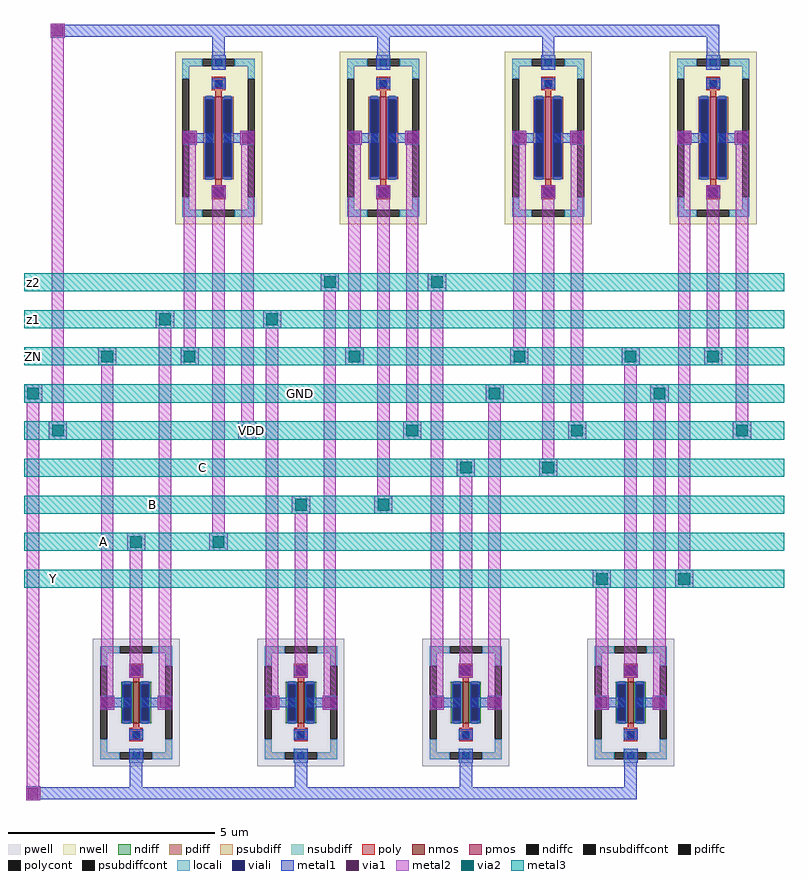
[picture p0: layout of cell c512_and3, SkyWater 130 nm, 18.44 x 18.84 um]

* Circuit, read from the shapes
.subckt c512_and3 Y A B C VDD GND
XM1 z1 A ZN GND sky130_fd_pr__nfet_01v8 w=1 l=0.15
XM2 z2 B z1 GND sky130_fd_pr__nfet_01v8 w=1 l=0.15
XM3 GND C z2 GND sky130_fd_pr__nfet_01v8 w=1 l=0.15
XM4 GND ZN Y GND sky130_fd_pr__nfet_01v8 w=1 l=0.15
XM5 VDD A ZN VDD sky130_fd_pr__pfet_01v8 w=2 l=0.15
XM6 VDD B ZN VDD sky130_fd_pr__pfet_01v8 w=2 l=0.15
XM7 VDD C ZN VDD sky130_fd_pr__pfet_01v8 w=2 l=0.15
XM8 VDD ZN Y VDD sky130_fd_pr__pfet_01v8 w=2 l=0.15
.ends

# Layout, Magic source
magic
tech sky130A
magscale 1 2
<< nwell >>
rect 789 2321 1211 3159
rect 1589 2321 2011 3159
rect 2389 2321 2811 3159
rect 3189 2321 3611 3159
<< pmos >>
rect 985 2540 1015 2940
rect 1785 2540 1815 2940
rect 2585 2540 2615 2940
rect 3385 2540 3415 2940
<< pdiff >>
rect 927 2928 985 2940
rect 927 2552 939 2928
rect 973 2552 985 2928
rect 927 2540 985 2552
rect 1015 2928 1073 2940
rect 1015 2552 1027 2928
rect 1061 2552 1073 2928
rect 1015 2540 1073 2552
rect 1727 2928 1785 2940
rect 1727 2552 1739 2928
rect 1773 2552 1785 2928
rect 1727 2540 1785 2552
rect 1815 2928 1873 2940
rect 1815 2552 1827 2928
rect 1861 2552 1873 2928
rect 1815 2540 1873 2552
rect 2527 2928 2585 2940
rect 2527 2552 2539 2928
rect 2573 2552 2585 2928
rect 2527 2540 2585 2552
rect 2615 2928 2673 2940
rect 2615 2552 2627 2928
rect 2661 2552 2673 2928
rect 2615 2540 2673 2552
rect 3327 2928 3385 2940
rect 3327 2552 3339 2928
rect 3373 2552 3385 2928
rect 3327 2540 3385 2552
rect 3415 2928 3473 2940
rect 3415 2552 3427 2928
rect 3461 2552 3473 2928
rect 3415 2540 3473 2552
<< pdiffc >>
rect 939 2552 973 2928
rect 1027 2552 1061 2928
rect 1739 2552 1773 2928
rect 1827 2552 1861 2928
rect 2539 2552 2573 2928
rect 2627 2552 2661 2928
rect 3339 2552 3373 2928
rect 3427 2552 3461 2928
<< nsubdiff >>
rect 825 3089 921 3123
rect 1079 3089 1175 3123
rect 825 3027 859 3089
rect 1141 3027 1175 3089
rect 825 2391 859 2453
rect 1141 2391 1175 2453
rect 825 2357 921 2391
rect 1079 2357 1175 2391
rect 1625 3089 1721 3123
rect 1879 3089 1975 3123
rect 1625 3027 1659 3089
rect 1941 3027 1975 3089
rect 1625 2391 1659 2453
rect 1941 2391 1975 2453
rect 1625 2357 1721 2391
rect 1879 2357 1975 2391
rect 2425 3089 2521 3123
rect 2679 3089 2775 3123
rect 2425 3027 2459 3089
rect 2741 3027 2775 3089
rect 2425 2391 2459 2453
rect 2741 2391 2775 2453
rect 2425 2357 2521 2391
rect 2679 2357 2775 2391
rect 3225 3089 3321 3123
rect 3479 3089 3575 3123
rect 3225 3027 3259 3089
rect 3541 3027 3575 3089
rect 3225 2391 3259 2453
rect 3541 2391 3575 2453
rect 3225 2357 3321 2391
rect 3479 2357 3575 2391
<< nsubdiffcont >>
rect 921 3089 1079 3123
rect 825 2453 859 3027
rect 1141 2453 1175 3027
rect 921 2357 1079 2391
rect 1721 3089 1879 3123
rect 1625 2453 1659 3027
rect 1941 2453 1975 3027
rect 1721 2357 1879 2391
rect 2521 3089 2679 3123
rect 2425 2453 2459 3027
rect 2741 2453 2775 3027
rect 2521 2357 2679 2391
rect 3321 3089 3479 3123
rect 3225 2453 3259 3027
rect 3541 2453 3575 3027
rect 3321 2357 3479 2391
<< poly >>
rect 967 3021 1033 3037
rect 967 2987 983 3021
rect 1017 2987 1033 3021
rect 967 2971 1033 2987
rect 985 2940 1015 2971
rect 985 2509 1015 2540
rect 967 2493 1033 2509
rect 967 2459 983 2493
rect 1017 2459 1033 2493
rect 967 2443 1033 2459
rect 1767 3021 1833 3037
rect 1767 2987 1783 3021
rect 1817 2987 1833 3021
rect 1767 2971 1833 2987
rect 1785 2940 1815 2971
rect 1785 2509 1815 2540
rect 1767 2493 1833 2509
rect 1767 2459 1783 2493
rect 1817 2459 1833 2493
rect 1767 2443 1833 2459
rect 2567 3021 2633 3037
rect 2567 2987 2583 3021
rect 2617 2987 2633 3021
rect 2567 2971 2633 2987
rect 2585 2940 2615 2971
rect 2585 2509 2615 2540
rect 2567 2493 2633 2509
rect 2567 2459 2583 2493
rect 2617 2459 2633 2493
rect 2567 2443 2633 2459
rect 567 172 633 188
rect 567 138 583 172
rect 617 138 633 172
rect 567 122 633 138
rect 585 100 615 122
rect 585 -122 615 -100
rect 567 -138 633 -122
rect 567 -172 583 -138
rect 617 -172 633 -138
rect 567 -188 633 -172
rect 1367 172 1433 188
rect 1367 138 1383 172
rect 1417 138 1433 172
rect 1367 122 1433 138
rect 1385 100 1415 122
rect 1385 -122 1415 -100
rect 1367 -138 1433 -122
rect 1367 -172 1383 -138
rect 1417 -172 1433 -138
rect 1367 -188 1433 -172
rect 2167 172 2233 188
rect 2167 138 2183 172
rect 2217 138 2233 172
rect 2167 122 2233 138
rect 2185 100 2215 122
rect 2185 -122 2215 -100
rect 2167 -138 2233 -122
rect 2167 -172 2183 -138
rect 2217 -172 2233 -138
rect 2167 -188 2233 -172
rect 2967 172 3033 188
rect 2967 138 2983 172
rect 3017 138 3033 172
rect 2967 122 3033 138
rect 2985 100 3015 122
rect 2985 -122 3015 -100
rect 2967 -138 3033 -122
rect 2967 -172 2983 -138
rect 3017 -172 3033 -138
rect 2967 -188 3033 -172
rect 3367 3021 3433 3037
rect 3367 2987 3383 3021
rect 3417 2987 3433 3021
rect 3367 2971 3433 2987
rect 3385 2940 3415 2971
rect 3385 2509 3415 2540
rect 3367 2493 3433 2509
rect 3367 2459 3383 2493
rect 3417 2459 3433 2493
rect 3367 2443 3433 2459
<< polycont >>
rect 983 2987 1017 3021
rect 983 2459 1017 2493
rect 1783 2987 1817 3021
rect 1783 2459 1817 2493
rect 2583 2987 2617 3021
rect 2583 2459 2617 2493
rect 583 138 617 172
rect 583 -172 617 -138
rect 1383 138 1417 172
rect 1383 -172 1417 -138
rect 2183 138 2217 172
rect 2183 -172 2217 -138
rect 2983 138 3017 172
rect 2983 -172 3017 -138
rect 3383 2987 3417 3021
rect 3383 2459 3417 2493
<< locali >>
rect 825 3089 921 3123
rect 1079 3089 1175 3123
rect 825 3027 859 3089
rect 1141 3027 1175 3089
rect 967 2987 983 3021
rect 1017 2987 1033 3021
rect 939 2928 973 2944
rect 939 2536 973 2552
rect 1027 2928 1061 2944
rect 1027 2536 1061 2552
rect 967 2459 983 2493
rect 1017 2459 1033 2493
rect 825 2391 859 2453
rect 1141 2391 1175 2453
rect 825 2357 921 2391
rect 1079 2357 1175 2391
rect 966 3072 1034 3140
rect 1625 3089 1721 3123
rect 1879 3089 1975 3123
rect 1625 3027 1659 3089
rect 1941 3027 1975 3089
rect 1767 2987 1783 3021
rect 1817 2987 1833 3021
rect 1739 2928 1773 2944
rect 1739 2536 1773 2552
rect 1827 2928 1861 2944
rect 1827 2536 1861 2552
rect 1767 2459 1783 2493
rect 1817 2459 1833 2493
rect 1625 2391 1659 2453
rect 1941 2391 1975 2453
rect 1625 2357 1721 2391
rect 1879 2357 1975 2391
rect 1766 3072 1834 3140
rect 2425 3089 2521 3123
rect 2679 3089 2775 3123
rect 2425 3027 2459 3089
rect 2741 3027 2775 3089
rect 2567 2987 2583 3021
rect 2617 2987 2633 3021
rect 2539 2928 2573 2944
rect 2539 2536 2573 2552
rect 2627 2928 2661 2944
rect 2627 2536 2661 2552
rect 2567 2459 2583 2493
rect 2617 2459 2633 2493
rect 2425 2391 2459 2453
rect 2741 2391 2775 2453
rect 2425 2357 2521 2391
rect 2679 2357 2775 2391
rect 2566 3072 2634 3140
rect 425 240 521 274
rect 679 240 775 274
rect 425 178 459 240
rect 741 178 775 240
rect 567 138 583 172
rect 617 138 633 172
rect 539 88 573 104
rect 539 -104 573 -88
rect 627 88 661 104
rect 627 -104 661 -88
rect 567 -172 583 -138
rect 617 -172 633 -138
rect 425 -240 459 -178
rect 741 -240 775 -178
rect 425 -274 521 -240
rect 679 -274 775 -240
rect 566 -291 634 -223
rect 1225 240 1321 274
rect 1479 240 1575 274
rect 1225 178 1259 240
rect 1541 178 1575 240
rect 1367 138 1383 172
rect 1417 138 1433 172
rect 1339 88 1373 104
rect 1339 -104 1373 -88
rect 1427 88 1461 104
rect 1427 -104 1461 -88
rect 1367 -172 1383 -138
rect 1417 -172 1433 -138
rect 1225 -240 1259 -178
rect 1541 -240 1575 -178
rect 1225 -274 1321 -240
rect 1479 -274 1575 -240
rect 1366 -291 1434 -223
rect 2025 240 2121 274
rect 2279 240 2375 274
rect 2025 178 2059 240
rect 2341 178 2375 240
rect 2167 138 2183 172
rect 2217 138 2233 172
rect 2139 88 2173 104
rect 2139 -104 2173 -88
rect 2227 88 2261 104
rect 2227 -104 2261 -88
rect 2167 -172 2183 -138
rect 2217 -172 2233 -138
rect 2025 -240 2059 -178
rect 2341 -240 2375 -178
rect 2025 -274 2121 -240
rect 2279 -274 2375 -240
rect 2166 -291 2234 -223
rect 2825 240 2921 274
rect 3079 240 3175 274
rect 2825 178 2859 240
rect 3141 178 3175 240
rect 2967 138 2983 172
rect 3017 138 3033 172
rect 2939 88 2973 104
rect 2939 -104 2973 -88
rect 3027 88 3061 104
rect 3027 -104 3061 -88
rect 2967 -172 2983 -138
rect 3017 -172 3033 -138
rect 2825 -240 2859 -178
rect 3141 -240 3175 -178
rect 2825 -274 2921 -240
rect 3079 -274 3175 -240
rect 2966 -291 3034 -223
rect 3225 3089 3321 3123
rect 3479 3089 3575 3123
rect 3225 3027 3259 3089
rect 3541 3027 3575 3089
rect 3367 2987 3383 3021
rect 3417 2987 3433 3021
rect 3339 2928 3373 2944
rect 3339 2536 3373 2552
rect 3427 2928 3461 2944
rect 3427 2536 3461 2552
rect 3367 2459 3383 2493
rect 3417 2459 3433 2493
rect 3225 2391 3259 2453
rect 3541 2391 3575 2453
rect 3225 2357 3321 2391
rect 3479 2357 3575 2391
rect 3366 3072 3434 3140
<< viali >>
rect 983 2987 1017 3021
rect 939 2552 973 2928
rect 1027 2552 1061 2928
rect 983 2459 1017 2493
rect 983 3089 1017 3123
rect 1783 2987 1817 3021
rect 1739 2552 1773 2928
rect 1827 2552 1861 2928
rect 1783 2459 1817 2493
rect 1783 3089 1817 3123
rect 2583 2987 2617 3021
rect 2539 2552 2573 2928
rect 2627 2552 2661 2928
rect 2583 2459 2617 2493
rect 2583 3089 2617 3123
rect 583 138 617 172
rect 539 -88 573 88
rect 627 -88 661 88
rect 583 -172 617 -138
rect 583 -274 617 -240
rect 1383 138 1417 172
rect 1339 -88 1373 88
rect 1427 -88 1461 88
rect 1383 -172 1417 -138
rect 1383 -274 1417 -240
rect 2183 138 2217 172
rect 2139 -88 2173 88
rect 2227 -88 2261 88
rect 2183 -172 2217 -138
rect 2183 -274 2217 -240
rect 2983 138 3017 172
rect 2939 -88 2973 88
rect 3027 -88 3061 88
rect 2983 -172 3017 -138
rect 2983 -274 3017 -240
rect 3383 2987 3417 3021
rect 3339 2552 3373 2928
rect 3427 2552 3461 2928
rect 3383 2459 3417 2493
rect 3383 3089 3417 3123
<< metal1 >>
rect 971 3021 1029 3027
rect 971 2987 983 3021
rect 1017 2987 1029 3021
rect 971 2981 1029 2987
rect 933 2928 979 2940
rect 933 2552 939 2928
rect 973 2552 979 2928
rect 933 2540 979 2552
rect 1021 2928 1067 2940
rect 1021 2552 1027 2928
rect 1061 2552 1067 2928
rect 1021 2540 1067 2552
rect 971 2493 1029 2499
rect 971 2459 983 2493
rect 1017 2459 1029 2493
rect 971 2453 1029 2459
rect 966 2450 1034 2502
rect 966 2978 1034 3030
rect 837 2717 979 2763
rect 826 2706 894 2774
rect 1021 2717 1163 2763
rect 1106 2706 1174 2774
rect 966 2450 1034 2502
rect 966 3072 1034 3140
rect 970 3076 1030 3290
rect 1771 3021 1829 3027
rect 1771 2987 1783 3021
rect 1817 2987 1829 3021
rect 1771 2981 1829 2987
rect 1733 2928 1779 2940
rect 1733 2552 1739 2928
rect 1773 2552 1779 2928
rect 1733 2540 1779 2552
rect 1821 2928 1867 2940
rect 1821 2552 1827 2928
rect 1861 2552 1867 2928
rect 1821 2540 1867 2552
rect 1771 2493 1829 2499
rect 1771 2459 1783 2493
rect 1817 2459 1829 2493
rect 1771 2453 1829 2459
rect 1766 2450 1834 2502
rect 1766 2978 1834 3030
rect 1637 2717 1779 2763
rect 1626 2706 1694 2774
rect 1821 2717 1963 2763
rect 1906 2706 1974 2774
rect 1766 2450 1834 2502
rect 1766 3072 1834 3140
rect 1770 3076 1830 3290
rect 2571 3021 2629 3027
rect 2571 2987 2583 3021
rect 2617 2987 2629 3021
rect 2571 2981 2629 2987
rect 2533 2928 2579 2940
rect 2533 2552 2539 2928
rect 2573 2552 2579 2928
rect 2533 2540 2579 2552
rect 2621 2928 2667 2940
rect 2621 2552 2627 2928
rect 2661 2552 2667 2928
rect 2621 2540 2667 2552
rect 2571 2493 2629 2499
rect 2571 2459 2583 2493
rect 2617 2459 2629 2493
rect 2571 2453 2629 2459
rect 2566 2450 2634 2502
rect 2566 2978 2634 3030
rect 2437 2717 2579 2763
rect 2426 2706 2494 2774
rect 2621 2717 2763 2763
rect 2706 2706 2774 2774
rect 2566 2450 2634 2502
rect 2566 3072 2634 3140
rect 2570 3076 2630 3290
rect 571 172 629 178
rect 571 138 583 172
rect 617 138 629 172
rect 571 132 629 138
rect 533 88 579 100
rect 533 -88 539 88
rect 573 -88 579 88
rect 533 -100 579 -88
rect 621 88 667 100
rect 621 -88 627 88
rect 661 -88 667 88
rect 621 -100 667 -88
rect 571 -138 629 -132
rect 571 -172 583 -138
rect 617 -172 629 -138
rect 571 -178 629 -172
rect 566 -181 634 -129
rect 566 129 634 181
rect 437 -23 579 23
rect 426 -34 494 34
rect 621 -23 763 23
rect 706 -34 774 34
rect 566 129 634 181
rect 566 -291 634 -223
rect 570 -470 630 -227
rect 1371 172 1429 178
rect 1371 138 1383 172
rect 1417 138 1429 172
rect 1371 132 1429 138
rect 1333 88 1379 100
rect 1333 -88 1339 88
rect 1373 -88 1379 88
rect 1333 -100 1379 -88
rect 1421 88 1467 100
rect 1421 -88 1427 88
rect 1461 -88 1467 88
rect 1421 -100 1467 -88
rect 1371 -138 1429 -132
rect 1371 -172 1383 -138
rect 1417 -172 1429 -138
rect 1371 -178 1429 -172
rect 1366 -181 1434 -129
rect 1366 129 1434 181
rect 1237 -23 1379 23
rect 1226 -34 1294 34
rect 1421 -23 1563 23
rect 1506 -34 1574 34
rect 1366 129 1434 181
rect 1366 -291 1434 -223
rect 1370 -470 1430 -227
rect 2171 172 2229 178
rect 2171 138 2183 172
rect 2217 138 2229 172
rect 2171 132 2229 138
rect 2133 88 2179 100
rect 2133 -88 2139 88
rect 2173 -88 2179 88
rect 2133 -100 2179 -88
rect 2221 88 2267 100
rect 2221 -88 2227 88
rect 2261 -88 2267 88
rect 2221 -100 2267 -88
rect 2171 -138 2229 -132
rect 2171 -172 2183 -138
rect 2217 -172 2229 -138
rect 2171 -178 2229 -172
rect 2166 -181 2234 -129
rect 2166 129 2234 181
rect 2037 -23 2179 23
rect 2026 -34 2094 34
rect 2221 -23 2363 23
rect 2306 -34 2374 34
rect 2166 129 2234 181
rect 2166 -291 2234 -223
rect 2170 -470 2230 -227
rect 2971 172 3029 178
rect 2971 138 2983 172
rect 3017 138 3029 172
rect 2971 132 3029 138
rect 2933 88 2979 100
rect 2933 -88 2939 88
rect 2973 -88 2979 88
rect 2933 -100 2979 -88
rect 3021 88 3067 100
rect 3021 -88 3027 88
rect 3061 -88 3067 88
rect 3021 -100 3067 -88
rect 2971 -138 3029 -132
rect 2971 -172 2983 -138
rect 3017 -172 3029 -138
rect 2971 -178 3029 -172
rect 2966 -181 3034 -129
rect 2966 129 3034 181
rect 2837 -23 2979 23
rect 2826 -34 2894 34
rect 3021 -23 3163 23
rect 3106 -34 3174 34
rect 2966 129 3034 181
rect 2966 -291 3034 -223
rect 2970 -470 3030 -227
rect 3371 3021 3429 3027
rect 3371 2987 3383 3021
rect 3417 2987 3429 3021
rect 3371 2981 3429 2987
rect 3333 2928 3379 2940
rect 3333 2552 3339 2928
rect 3373 2552 3379 2928
rect 3333 2540 3379 2552
rect 3421 2928 3467 2940
rect 3421 2552 3427 2928
rect 3461 2552 3467 2928
rect 3421 2540 3467 2552
rect 3371 2493 3429 2499
rect 3371 2459 3383 2493
rect 3417 2459 3429 2493
rect 3371 2453 3429 2459
rect 3366 2450 3434 2502
rect 3366 2978 3434 3030
rect 3237 2717 3379 2763
rect 3226 2706 3294 2774
rect 3421 2717 3563 2763
rect 3506 2706 3574 2774
rect 3366 2450 3434 2502
rect 3366 3072 3434 3140
rect 3370 3076 3430 3290
rect 190 3230 3430 3290
rect 186 3226 254 3294
rect 70 -470 3030 -410
rect 66 -474 134 -406
<< via1 >>
rect 834 2714 886 2766
rect 1114 2714 1166 2766
rect 974 2450 1026 2502
rect 1634 2714 1686 2766
rect 1914 2714 1966 2766
rect 1774 2450 1826 2502
rect 2434 2714 2486 2766
rect 2714 2714 2766 2766
rect 2574 2450 2626 2502
rect 434 -26 486 26
rect 714 -26 766 26
rect 574 129 626 181
rect 1234 -26 1286 26
rect 1514 -26 1566 26
rect 1374 129 1426 181
rect 2034 -26 2086 26
rect 2314 -26 2366 26
rect 2174 129 2226 181
rect 2834 -26 2886 26
rect 3114 -26 3166 26
rect 2974 129 3026 181
rect 3234 2714 3286 2766
rect 3514 2714 3566 2766
rect 3374 2450 3426 2502
rect 194 3234 246 3286
rect 74 -466 126 -414
<< metal2 >>
rect 826 2706 894 2774
rect 1106 2706 1174 2774
rect 966 2442 1034 2510
rect 1626 2706 1694 2774
rect 1906 2706 1974 2774
rect 1766 2442 1834 2510
rect 2426 2706 2494 2774
rect 2706 2706 2774 2774
rect 2566 2442 2634 2510
rect 426 -34 494 34
rect 706 -34 774 34
rect 566 121 634 189
rect 1226 -34 1294 34
rect 1506 -34 1574 34
rect 1366 121 1434 189
rect 2026 -34 2094 34
rect 2306 -34 2374 34
rect 2166 121 2234 189
rect 2826 -34 2894 34
rect 3106 -34 3174 34
rect 2966 121 3034 189
rect 3226 2706 3294 2774
rect 3506 2706 3574 2774
rect 3366 2442 3434 2510
rect 186 3226 254 3294
rect 66 -474 134 -406
rect 830 1650 890 2770
rect 816 1636 904 1724
rect 1630 1650 1690 2770
rect 1616 1636 1704 1724
rect 2430 1650 2490 2770
rect 2416 1636 2504 1724
rect 430 -30 490 1710
rect 416 1636 504 1724
rect 2970 125 3030 1710
rect 2956 1636 3044 1724
rect 3370 1650 3430 2506
rect 3356 1636 3444 1724
rect 1110 1290 1170 2770
rect 1096 1276 1184 1364
rect 1910 1290 1970 2770
rect 1896 1276 1984 1364
rect 2710 1290 2770 2770
rect 2696 1276 2784 1364
rect 3510 1290 3570 2770
rect 3496 1276 3584 1364
rect 190 1290 250 3290
rect 176 1276 264 1364
rect 970 750 1030 2506
rect 956 736 1044 824
rect 570 125 630 810
rect 556 736 644 824
rect 1770 930 1830 2506
rect 1756 916 1844 1004
rect 1370 125 1430 990
rect 1356 916 1444 1004
rect 2570 1110 2630 2506
rect 2556 1096 2644 1184
rect 2170 125 2230 1170
rect 2156 1096 2244 1184
rect 710 -30 770 1890
rect 696 1816 784 1904
rect 1230 -30 1290 1890
rect 1216 1816 1304 1904
rect 1510 -30 1570 2070
rect 1496 1996 1584 2084
rect 2030 -30 2090 2070
rect 2016 1996 2104 2084
rect 2310 -30 2370 1530
rect 2296 1456 2384 1544
rect 3110 -30 3170 1530
rect 3096 1456 3184 1544
rect 70 -470 130 1530
rect 56 1456 144 1544
rect 2830 -30 2890 630
rect 2816 556 2904 644
rect 3230 570 3290 2770
rect 3216 556 3304 644
<< pwell >>
rect 389 -310 811 310
rect 1189 -310 1611 310
rect 1989 -310 2411 310
rect 2789 -310 3211 310
<< nmos >>
rect 585 -100 615 100
rect 1385 -100 1415 100
rect 2185 -100 2215 100
rect 2985 -100 3015 100
<< ndiff >>
rect 527 88 585 100
rect 527 -88 539 88
rect 573 -88 585 88
rect 527 -100 585 -88
rect 615 88 673 100
rect 615 -88 627 88
rect 661 -88 673 88
rect 615 -100 673 -88
rect 1327 88 1385 100
rect 1327 -88 1339 88
rect 1373 -88 1385 88
rect 1327 -100 1385 -88
rect 1415 88 1473 100
rect 1415 -88 1427 88
rect 1461 -88 1473 88
rect 1415 -100 1473 -88
rect 2127 88 2185 100
rect 2127 -88 2139 88
rect 2173 -88 2185 88
rect 2127 -100 2185 -88
rect 2215 88 2273 100
rect 2215 -88 2227 88
rect 2261 -88 2273 88
rect 2215 -100 2273 -88
rect 2927 88 2985 100
rect 2927 -88 2939 88
rect 2973 -88 2985 88
rect 2927 -100 2985 -88
rect 3015 88 3073 100
rect 3015 -88 3027 88
rect 3061 -88 3073 88
rect 3015 -100 3073 -88
<< ndiffc >>
rect 539 -88 573 88
rect 627 -88 661 88
rect 1339 -88 1373 88
rect 1427 -88 1461 88
rect 2139 -88 2173 88
rect 2227 -88 2261 88
rect 2939 -88 2973 88
rect 3027 -88 3061 88
<< psubdiff >>
rect 425 240 521 274
rect 679 240 775 274
rect 425 178 459 240
rect 741 178 775 240
rect 425 -240 459 -178
rect 741 -240 775 -178
rect 425 -274 521 -240
rect 679 -274 775 -240
rect 1225 240 1321 274
rect 1479 240 1575 274
rect 1225 178 1259 240
rect 1541 178 1575 240
rect 1225 -240 1259 -178
rect 1541 -240 1575 -178
rect 1225 -274 1321 -240
rect 1479 -274 1575 -240
rect 2025 240 2121 274
rect 2279 240 2375 274
rect 2025 178 2059 240
rect 2341 178 2375 240
rect 2025 -240 2059 -178
rect 2341 -240 2375 -178
rect 2025 -274 2121 -240
rect 2279 -274 2375 -240
rect 2825 240 2921 274
rect 3079 240 3175 274
rect 2825 178 2859 240
rect 3141 178 3175 240
rect 2825 -240 2859 -178
rect 3141 -240 3175 -178
rect 2825 -274 2921 -240
rect 3079 -274 3175 -240
<< psubdiffcont >>
rect 521 240 679 274
rect 425 -178 459 178
rect 741 -178 775 178
rect 521 -274 679 -240
rect 1321 240 1479 274
rect 1225 -178 1259 178
rect 1541 -178 1575 178
rect 1321 -274 1479 -240
rect 2121 240 2279 274
rect 2025 -178 2059 178
rect 2341 -178 2375 178
rect 2121 -274 2279 -240
rect 2921 240 3079 274
rect 2825 -178 2859 178
rect 3141 -178 3175 178
rect 2921 -274 3079 -240
<< metal3 >>
rect 56 1636 3744 1724
rect 816 1636 904 1724
rect 1616 1636 1704 1724
rect 2416 1636 2504 1724
rect 416 1636 504 1724
rect 2956 1636 3044 1724
rect 3356 1636 3444 1724
rect 56 1276 3744 1364
rect 1096 1276 1184 1364
rect 1896 1276 1984 1364
rect 2696 1276 2784 1364
rect 3496 1276 3584 1364
rect 176 1276 264 1364
rect 56 736 3744 824
rect 956 736 1044 824
rect 556 736 644 824
rect 56 916 3744 1004
rect 1756 916 1844 1004
rect 1356 916 1444 1004
rect 56 1096 3744 1184
rect 2556 1096 2644 1184
rect 2156 1096 2244 1184
rect 56 1816 3744 1904
rect 696 1816 784 1904
rect 1216 1816 1304 1904
rect 56 1996 3744 2084
rect 1496 1996 1584 2084
rect 2016 1996 2104 2084
rect 56 1456 3744 1544
rect 2296 1456 2384 1544
rect 3096 1456 3184 1544
rect 56 1456 144 1544
rect 56 556 3744 644
rect 2816 556 2904 644
rect 3216 556 3304 644
<< via2 >>
rect 832 1652 888 1708
rect 1632 1652 1688 1708
rect 2432 1652 2488 1708
rect 432 1652 488 1708
rect 2972 1652 3028 1708
rect 3372 1652 3428 1708
rect 1112 1292 1168 1348
rect 1912 1292 1968 1348
rect 2712 1292 2768 1348
rect 3512 1292 3568 1348
rect 192 1292 248 1348
rect 972 752 1028 808
rect 572 752 628 808
rect 1772 932 1828 988
rect 1372 932 1428 988
rect 2572 1112 2628 1168
rect 2172 1112 2228 1168
rect 712 1832 768 1888
rect 1232 1832 1288 1888
rect 1512 2012 1568 2068
rect 2032 2012 2088 2068
rect 2312 1472 2368 1528
rect 3112 1472 3168 1528
rect 72 1472 128 1528
rect 2832 572 2888 628
rect 3232 572 3288 628
<< labels >>
rlabel metal3 100 1680 100 1680 0 ZN
rlabel metal3 1160 1320 1160 1320 0 VDD
port 5 nsew signal bidirectional
rlabel metal3 440 780 440 780 0 A
port 2 nsew signal bidirectional
rlabel metal3 680 960 680 960 0 B
port 3 nsew signal bidirectional
rlabel metal3 920 1140 920 1140 0 C
port 4 nsew signal bidirectional
rlabel metal3 100 1860 100 1860 0 z1
rlabel metal3 100 2040 100 2040 0 z2
rlabel metal3 1400 1500 1400 1500 0 GND
port 6 nsew signal bidirectional
rlabel metal3 200 600 200 600 0 Y
port 1 nsew signal bidirectional
<< end >>
